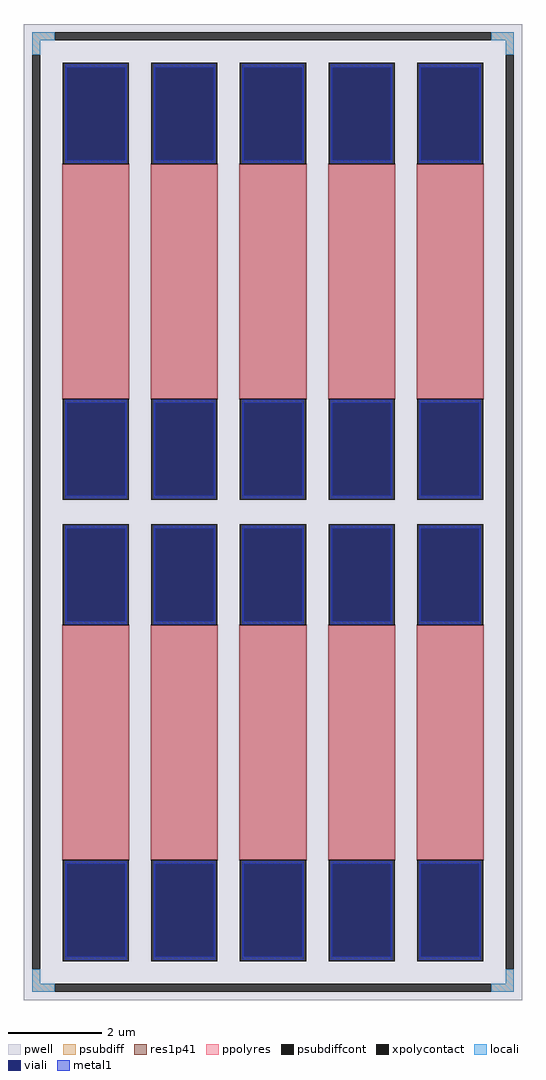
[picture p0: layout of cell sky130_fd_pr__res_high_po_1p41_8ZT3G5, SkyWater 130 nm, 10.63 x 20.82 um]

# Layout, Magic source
magic
tech sky130A
magscale 1 2
<< pwell >>
rect -1063 -2082 1063 2082
<< psubdiff >>
rect -1027 2012 -931 2046
rect 931 2012 1027 2046
rect -1027 1950 -993 2012
rect 993 1950 1027 2012
rect -1027 -2012 -993 -1950
rect 993 -2012 1027 -1950
rect -1027 -2046 -931 -2012
rect 931 -2046 1027 -2012
<< psubdiffcont >>
rect -931 2012 931 2046
rect -1027 -1950 -993 1950
rect 993 -1950 1027 1950
rect -931 -2046 931 -2012
<< xpolycontact >>
rect -897 1484 -615 1916
rect -897 52 -615 484
rect -519 1484 -237 1916
rect -519 52 -237 484
rect -141 1484 141 1916
rect -141 52 141 484
rect 237 1484 519 1916
rect 237 52 519 484
rect 615 1484 897 1916
rect 615 52 897 484
rect -897 -484 -615 -52
rect -897 -1916 -615 -1484
rect -519 -484 -237 -52
rect -519 -1916 -237 -1484
rect -141 -484 141 -52
rect -141 -1916 141 -1484
rect 237 -484 519 -52
rect 237 -1916 519 -1484
rect 615 -484 897 -52
rect 615 -1916 897 -1484
<< ppolyres >>
rect -897 484 -615 1484
rect -519 484 -237 1484
rect -141 484 141 1484
rect 237 484 519 1484
rect 615 484 897 1484
rect -897 -1484 -615 -484
rect -519 -1484 -237 -484
rect -141 -1484 141 -484
rect 237 -1484 519 -484
rect 615 -1484 897 -484
<< locali >>
rect -1027 2012 -931 2046
rect 931 2012 1027 2046
rect -1027 1950 -993 2012
rect 993 1950 1027 2012
rect -1027 -2012 -993 -1950
rect 993 -2012 1027 -1950
rect -1027 -2046 -931 -2012
rect 931 -2046 1027 -2012
<< viali >>
rect -881 1501 -631 1898
rect -503 1501 -253 1898
rect -125 1501 125 1898
rect 253 1501 503 1898
rect 631 1501 881 1898
rect -881 70 -631 467
rect -503 70 -253 467
rect -125 70 125 467
rect 253 70 503 467
rect 631 70 881 467
rect -881 -467 -631 -70
rect -503 -467 -253 -70
rect -125 -467 125 -70
rect 253 -467 503 -70
rect 631 -467 881 -70
rect -881 -1898 -631 -1501
rect -503 -1898 -253 -1501
rect -125 -1898 125 -1501
rect 253 -1898 503 -1501
rect 631 -1898 881 -1501
<< metal1 >>
rect -887 1898 -625 1910
rect -887 1501 -881 1898
rect -631 1501 -625 1898
rect -887 1489 -625 1501
rect -509 1898 -247 1910
rect -509 1501 -503 1898
rect -253 1501 -247 1898
rect -509 1489 -247 1501
rect -131 1898 131 1910
rect -131 1501 -125 1898
rect 125 1501 131 1898
rect -131 1489 131 1501
rect 247 1898 509 1910
rect 247 1501 253 1898
rect 503 1501 509 1898
rect 247 1489 509 1501
rect 625 1898 887 1910
rect 625 1501 631 1898
rect 881 1501 887 1898
rect 625 1489 887 1501
rect -887 467 -625 479
rect -887 70 -881 467
rect -631 70 -625 467
rect -887 58 -625 70
rect -509 467 -247 479
rect -509 70 -503 467
rect -253 70 -247 467
rect -509 58 -247 70
rect -131 467 131 479
rect -131 70 -125 467
rect 125 70 131 467
rect -131 58 131 70
rect 247 467 509 479
rect 247 70 253 467
rect 503 70 509 467
rect 247 58 509 70
rect 625 467 887 479
rect 625 70 631 467
rect 881 70 887 467
rect 625 58 887 70
rect -887 -70 -625 -58
rect -887 -467 -881 -70
rect -631 -467 -625 -70
rect -887 -479 -625 -467
rect -509 -70 -247 -58
rect -509 -467 -503 -70
rect -253 -467 -247 -70
rect -509 -479 -247 -467
rect -131 -70 131 -58
rect -131 -467 -125 -70
rect 125 -467 131 -70
rect -131 -479 131 -467
rect 247 -70 509 -58
rect 247 -467 253 -70
rect 503 -467 509 -70
rect 247 -479 509 -467
rect 625 -70 887 -58
rect 625 -467 631 -70
rect 881 -467 887 -70
rect 625 -479 887 -467
rect -887 -1501 -625 -1489
rect -887 -1898 -881 -1501
rect -631 -1898 -625 -1501
rect -887 -1910 -625 -1898
rect -509 -1501 -247 -1489
rect -509 -1898 -503 -1501
rect -253 -1898 -247 -1501
rect -509 -1910 -247 -1898
rect -131 -1501 131 -1489
rect -131 -1898 -125 -1501
rect 125 -1898 131 -1501
rect -131 -1910 131 -1898
rect 247 -1501 509 -1489
rect 247 -1898 253 -1501
rect 503 -1898 509 -1501
rect 247 -1910 509 -1898
rect 625 -1501 887 -1489
rect 625 -1898 631 -1501
rect 881 -1898 887 -1501
rect 625 -1910 887 -1898
<< res1p41 >>
rect -899 482 -613 1486
rect -521 482 -235 1486
rect -143 482 143 1486
rect 235 482 521 1486
rect 613 482 899 1486
rect -899 -1486 -613 -482
rect -521 -1486 -235 -482
rect -143 -1486 143 -482
rect 235 -1486 521 -482
rect 613 -1486 899 -482
<< properties >>
string FIXED_BBOX -1010 -2029 1010 2029
string gencell sky130_fd_pr__res_high_po_1p41
string library sky130
string parameters w 1.41 l 5.0 m 2 nx 5 wmin 1.410 lmin 0.50 rho 319.8 val 1.41k dummy 0 dw 0.0 term 194.82 sterm 0.0 caplen 0 guard 1 glc 1 grc 1 gtc 1 gbc 1 compatible {sky130_fd_pr__res_high_po_0p35  sky130_fd_pr__res_high_po_0p69 sky130_fd_pr__res_high_po_1p41  sky130_fd_pr__res_high_po_2p85 sky130_fd_pr__res_high_po_5p73} snake 0 full_metal 1 wmax 1.410 n_guard 0 hv_guard 0 vias 1 viagb 0 viagt 0 viagl 0 viagr 0
<< end >>
